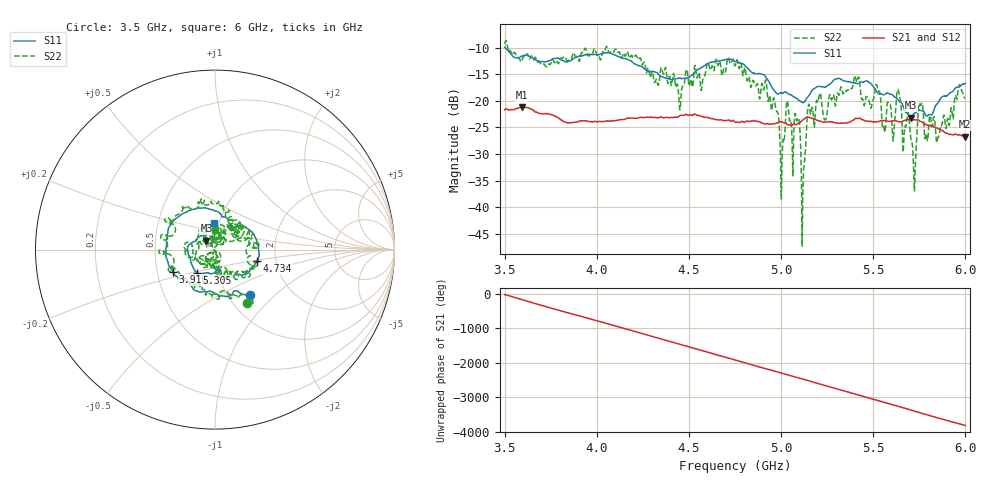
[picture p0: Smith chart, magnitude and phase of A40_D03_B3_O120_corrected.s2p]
! Created with skrf 1.9.0 (http://scikit-rf.org).
# Hz S RI R 50.0
!freq ReS11 ImS11 ReS21 ImS21 ReS12 ImS12 ReS22 ImS22
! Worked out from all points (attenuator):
!   1601 points, 3.5 GHz to 6 GHz, reference 50 ohm
!   highest |S21| = -21.19 dB at 3.592 GHz (marker M1); lowest = -26.7 dB at 5.998 GHz (marker M2)
!   lowest |S11| = -23.2 dB at 5.703 GHz (marker M3), VSWR 1.15, Z = 45.2 + j4.61 ohm
!   |S11| at or under -10 dB: 3.505 GHz to end of sweep
!   |S22| runs from -47.4 to -8.6 dB; largest |S21 - S12| = 0.00097
!   S11 on the Smith chart (normalised r, x): 3.5 GHz: 1.25, -0.71; 3.916 GHz: 0.60, -0.16; 4.734 GHz: 1.60, -0.22; 5.305 GHz: 0.79, -0.21; 6 GHz: 0.94, +0.28
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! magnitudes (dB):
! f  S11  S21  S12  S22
! 3.5 GHz  -9.9  -21.6  -21.6  -9.3
! 3.592 GHz  -11.5  -21.2  -21.2  -12.5
! 3.916 GHz  -11.5  -23.8  -23.7  -11.1
! 3.917 GHz  -11.5  -23.8  -23.7  -10.9
! 4.334 GHz  -15.0  -23.2  -23.1  -17.1
! 4.734 GHz  -12.2  -23.8  -23.8  -12.5
! 4.75 GHz  -12.6  -24.0  -23.9  -13.4
! 4.969 GHz  -18.3  -24.2  -24.2  -21.0
! 5.005 GHz  -18.5  -23.9  -23.9  -32.0
! 5.034 GHz  -18.6  -24.5  -24.4  -20.0
! 5.088 GHz  -19.6  -24.3  -24.3  -23.7
! 5.119 GHz  -20.3  -23.6  -23.5  -36.3
! 5.145 GHz  -19.2  -23.0  -23.0  -21.3
! 5.167 GHz  -18.1  -23.3  -23.2  -21.3
! 5.305 GHz  -15.8  -24.2  -24.1  -18.7
! 5.584 GHz  -18.6  -23.8  -23.8  -20.3
! 5.703 GHz  -23.2  -23.6  -23.5  -26.8
! 5.722 GHz  -22.3  -23.5  -23.5  -35.8
! 5.756 GHz  -21.8  -23.8  -23.8  -20.9
! 5.85 GHz  -20.4  -25.2  -25.1  -27.0
! 5.998 GHz  -16.7  -26.7  -26.7  -19.4
! 6 GHz  -16.7  -26.7  -26.7  -19.4
